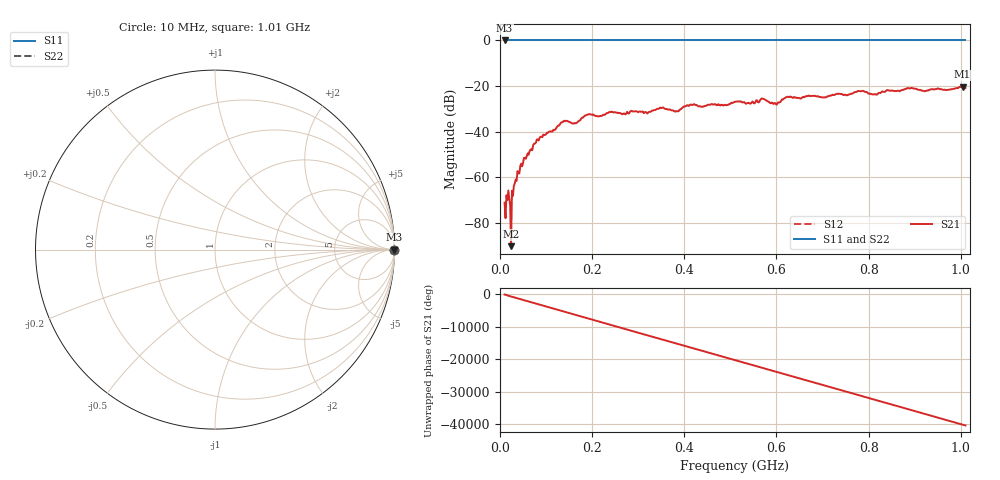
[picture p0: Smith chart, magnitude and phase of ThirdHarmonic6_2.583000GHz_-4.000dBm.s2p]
! 8/17/2025 5:28:49 AM
! C:\ANRITSUVNA\TEMP\TEMP.S2P
! CHANNEL.1
! TR.MEASUREMENT
! RAW.DATA
! RF.CORRECTION.OFF
! AVERAGING.OFF
! IF.BANDWIDTH: 5KHZ
! SWEEPTYPE:  FREQ.SWEEP(Linear)
! Reference Plane Port Info
! PORT:  PORT1  PORT2
! DISTANCE:  0  m  0  m
! TIME:  0  s  0  s
! PHASE.OFFSET:  0  deg.  0  deg.
! LOSS:  0  dB  0  dB
! REF.LOSS:  0  dB  0  dB
! REF.FREQ:  0  Hz  0  Hz
! Power Info
! POWER:  -20  dBm  -20  dBm
! EFF.POWER:  -20  dBm  -20  dBm
! SOURCE.ATTEN:  0  dB  0  dB
! TEST.ATTEN:  0  dB  0  dB
# GHZ S RI R 50.0
! FREQ.GHZ  S11RE  S11IM  S21RE  S21IM  S12RE  S12IM  S22RE  S22IM
!; PortSelection: Port_12
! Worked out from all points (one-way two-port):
!   501 points, 10 MHz to 1.01 GHz, reference 50 ohm
!   highest |S21| = -20.29 dB at 1.004 GHz (marker M1); lowest = -90.2 dB at 24 MHz (marker M2)
!   lowest |S11| = 0.0 dB at 10 MHz (marker M3)
!   |S11| at or under -10 dB: nowhere
!   |S22| runs from 0.0 to 0.0 dB; largest |S21 - S12| = 1.1
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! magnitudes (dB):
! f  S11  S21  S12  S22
! 10 MHz  0.0  -71.1  0.0  0.0
! 18 MHz  0.0  -65.8  0.0  0.0
! 20 MHz  0.0  -68.8  0.0  0.0
! 24 MHz  0.0  -90.2  0.0  0.0
! 28 MHz  0.0  -68.2  0.0  0.0
! 30 MHz  0.0  -63.8  0.0  0.0
! 42 MHz  0.0  -58.3  0.0  0.0
! 76 MHz  0.0  -45.1  0.0  0.0
! 136 MHz  0.0  -35.8  0.0  0.0
! 162 MHz  0.0  -36.2  0.0  0.0
! 178 MHz  0.0  -33.8  0.0  0.0
! 344 MHz  0.0  -30.0  0.0  0.0
! 384 MHz  0.0  -31.0  0.0  0.0
! 416 MHz  0.0  -28.2  0.0  0.0
! 510 MHz  0.0  -26.9  0.0  0.0
! 570 MHz  0.0  -25.5  0.0  0.0
! 598 MHz  0.0  -27.6  0.0  0.0
! 626 MHz  0.0  -24.7  0.0  0.0
! 678 MHz  0.0  -24.3  0.0  0.0
! 844 MHz  0.0  -21.9  0.0  0.0
! 1.004 GHz  0.0  -20.3  0.0  0.0
! 1.01 GHz  0.0  -20.9  0.0  0.0
